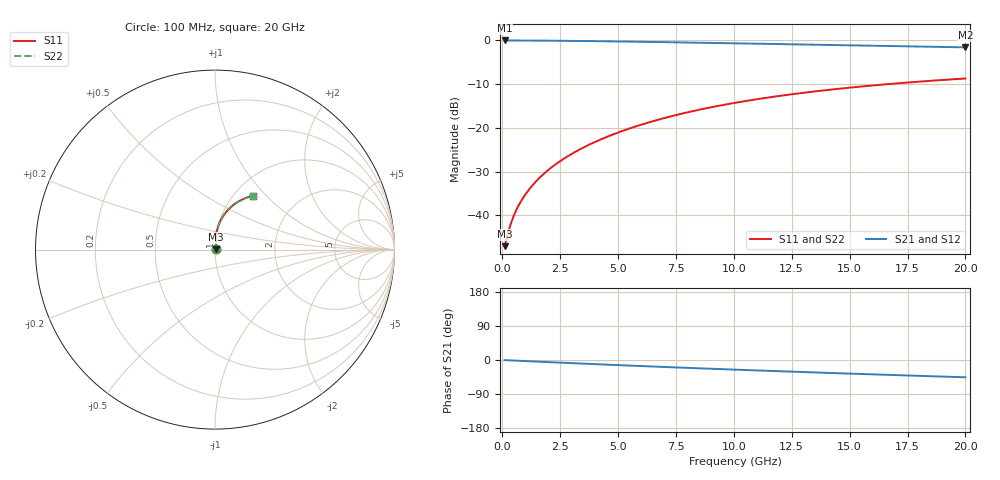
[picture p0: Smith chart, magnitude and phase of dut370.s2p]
! Touchstone file exported from HFSS 2024.1.0
!  File:  C:/UserFiles/LocalFiles/RDL_TSV_Batchsim/temp_RDL_top_370_1779608901.aedt
!  Generated:  03:50:55 PM May 24, 2026
!  Design:  RDL_top
!  Project:  temp_RDL_top_370_1779608901
!  Setup:  Setup1
!  Solution:  Sweep
! Variables:
!  dtsv = 10.80580581um
!  hbump = 3um
!  htsv = 76.09um
!  ldown = 100um
!  lrdl = 653.6um
!  p = 40
!  p1 = 52.17um
!  rhole = 1um
!  t = 450um
!  tdown = 3.915915916um
!  trdl = 2.36um
!  wdown = 15.38538539um
!  wrdl = 26.37um
# GHz S MA R 50.000000
! Terminal data exported
! Port[1] = Box2_T1
! Port[2] = Box2_T2
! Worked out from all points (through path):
!   200 points, 100 MHz to 20 GHz, reference 50 ohm
!   highest |S21| = -0.04 dB at 100 MHz (marker M1); lowest = -1.6 dB at 20 GHz (marker M2)
!   group delay of S21, straight-line fit = 6.27 ps
!   lowest |S11| = -47.0 dB at 100 MHz (marker M3), VSWR 1.01, Z = 50.4 + j0.192 ohm
!   |S11| at or under -10 dB: start of sweep to 16.67 GHz
!   |S22| runs from -47.0 to -8.7 dB; largest |S21 - S12| = 9.8e-15
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0.1  0.004458 25.3  0.996 -0.3  0.996 -0.3  0.004458 25.3
! Gamma 0 0 0 0
! Port Impedance 50 0 50 0
0.3  0.007029 51.4  0.9955 -0.9  0.9955 -0.9  0.007029 51.4
0.4  0.008502 57.4  0.9952 -1.2  0.9952 -1.2  0.008502 57.4
0.5  0.009979 61.6  0.9949 -1.5  0.9949 -1.5  0.009979 61.6
0.6  0.01145 64.8  0.9946 -1.7  0.9946 -1.7  0.01145 64.8
0.8  0.01442 69.5  0.9941 -2.3  0.9941 -2.3  0.01442 69.5
1  0.01742 72.9  0.9936 -2.8  0.9936 -2.8  0.01742 72.9
1.2  0.02048 75.4  0.993 -3.4  0.993 -3.4  0.02048 75.4
1.7  0.02839 79.6  0.9912 -4.8  0.9912 -4.8  0.02839 79.6
2.2  0.03664 82.1  0.9891 -6.2  0.9891 -6.2  0.03664 82.1
2.8  0.04697 83.8  0.9859 -7.8  0.9859 -7.8  0.04697 83.8
3.5  0.05958 84.8  0.9815 -9.7  0.9815 -9.7  0.05958 84.8
4.2  0.07276 85.1  0.9765 -11.5  0.9765 -11.5  0.07277 85.1
5  0.08844 84.8  0.9702 -13.5  0.9702 -13.5  0.08844 84.8
5.9  0.1067 84.0  0.9625 -15.8  0.9625 -15.8  0.1067 84.0
6.8  0.1253 82.7  0.9545 -18.0  0.9545 -18.0  0.1253 82.7
8.4  0.1589 79.7  0.9396 -21.7  0.9396 -21.7  0.1589 79.7
10.1  0.1942 76.1  0.9234 -25.6  0.9234 -25.6  0.1943 76.1
11.7  0.2264 72.6  0.908 -29.1  0.908 -29.1  0.2265 72.5
13.4  0.259 68.7  0.8918 -32.7  0.8918 -32.7  0.2591 68.7
16.7  0.3167 61.6  0.8607 -39.3  0.8607 -39.3  0.3167 61.6
20  0.3664 54.9  0.8308 -45.6  0.8308 -45.6  0.3664 54.9
